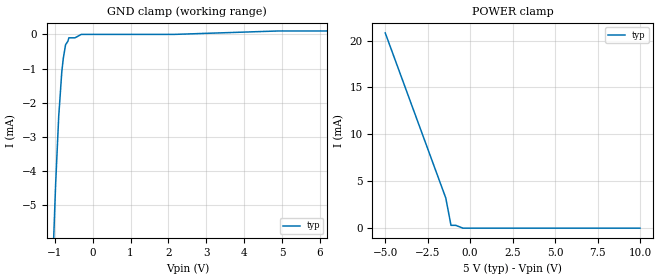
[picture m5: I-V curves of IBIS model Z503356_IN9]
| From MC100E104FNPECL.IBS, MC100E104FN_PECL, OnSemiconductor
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| (C) COPYRIGHT 1993-2000
| MENTOR GRAPHICS CORPORATION
| ICX STANDARD LIBRARY, ICX PROJECT MODELING,
| ICX CUSTOM MODELING, ICX VENDOR MODEL
| ALL RIGHTS RESERVED.
| THE FOLLOWING ARE TRADEMARKS OR SERVICE MARKS OF
| MENTOR GRAPHICS CORPORATION:ICX (R), ICX STANDARD
| LIBRARY(R), ICX PROJECT MODELING(R), ICX CUSTOM
| MODELING(R), qualityIBIS(TM), MODELVIEWER(TM),
| AND MODELEDITOR(TM)
| ALL COPIES OF SOFTWARE, INCLUDING BUT NOT LIMITED TO
| ANY MODIFICATIONS, ENHANCEMENTS OR DERIVATIVE WORKS,
| MUST CONTAIN ALL MENTOR GRAPHICS CORPORATION'S
| NOTICES AND LEGENDS, INCLUDING THOSE EMBEDDED IN
| SOFTWARE AND THOSE AFFIXED TO SOFTWARE MEDIUM
| AND CONTAINER, AS RECEIVED FROM MENTOR GRAPHICS
| CORPORATION.
| Model Application Version 1.89 2/18/99.
[Model] Z503356_IN9
Model_type Input_ECL
Vinl = 3.525V
Vinh = 3.835V
C_comp 4.000pF NA NA
| variable typ   min   max
[Voltage Range] 5.000V NA NA
[GND Clamp Reference] 0.000V NA NA
[POWER Clamp Reference] 5.000V NA NA
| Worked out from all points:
|   GND clamp passes 1 mA (typ) near -0.81 V on its own axis
[GND Clamp]
-5V       -165mA     NA         NA
-1.079V   -7.5mA     NA         NA
-978mV    -4.4mA     NA         NA
-896mV    -2.4mA     NA         NA
-815mV    -1.1mA     NA         NA
-775mV    -700uA     NA         NA
-714mV    -300uA     NA         NA
-627.8mV  -100uA     NA         NA
-464.5mV  -100uA     NA         NA
-301.3mV  0A         NA         NA
4.909V    100uA      NA         NA
10V       100uA      NA         NA
[POWER Clamp]
-5V       20.82mA    NA         NA
-1.431V   3.2mA      NA         NA
-1.411V   3mA        NA         NA
-1.127V   300uA      NA         NA
-843mV    300uA      NA         NA
-421.5mV  0A         NA         NA
10V       0A         NA         NA
